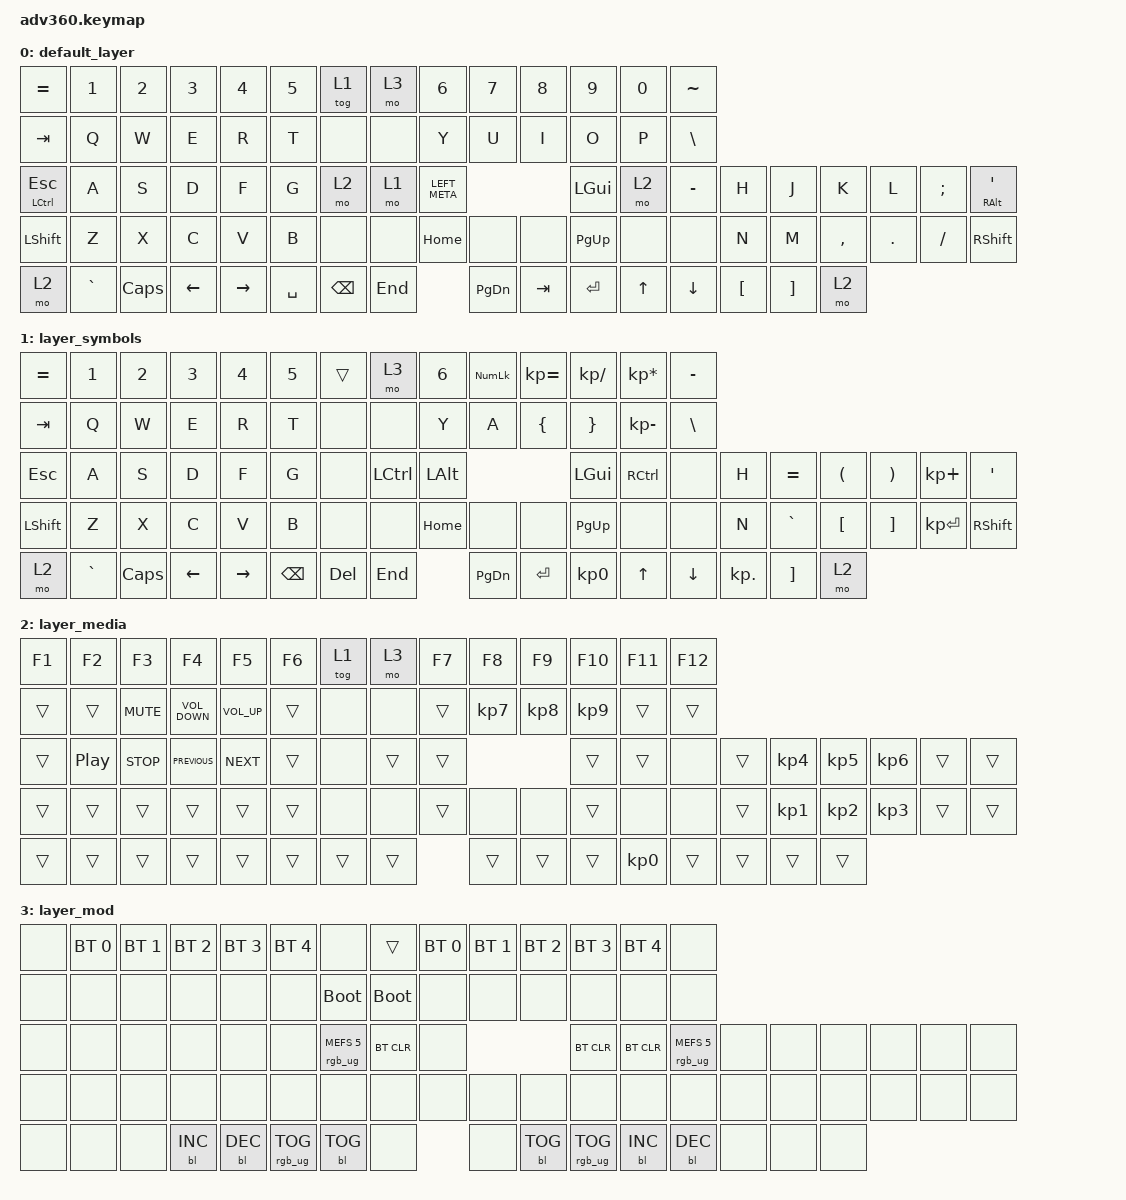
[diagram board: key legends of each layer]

/*
 * Copyright (c) 2020 The ZMK Contributors
 *
 * SPDX-License-Identifier: MIT
 */


/* THIS FILE WAS GENERATED!
 *
 * This file was generated automatically. You may or may not want to
 * edit it directly.
 */

#include <behaviors.dtsi>
#include <dt-bindings/zmk/keys.h>
#include <dt-bindings/zmk/bt.h>
#include <dt-bindings/zmk/rgb.h>
#include <dt-bindings/zmk/backlight.h>

/ {
  behaviors {
    #include "macros.dtsi"

    hm: homerow_mods {
        compatible = "zmk,behavior-hold-tap";
        label = "HOMEROW_MODS";
        #binding-cells = <2>;
        tapping-term-ms = <200>;
        quick_tap_ms = <175>;
        flavor = "tap-preferred";
        bindings = <&kp>, <&kp>;
    };
  };

    keymap {
        compatible = "zmk,keymap";


        default_layer {
            bindings = <
            &kp EQUAL     &kp N1    &kp N2    &kp N3     &kp N4     &kp N5                   &tog 1    &mo 3         &kp N6   &kp N7     &kp N8     &kp N9    &kp N0  &kp TILDE
              &kp TAB      &kp Q     &kp W     &kp E      &kp R      &kp T                    &none    &none          &kp Y    &kp U      &kp I      &kp O     &kp P   &kp BSLH
 &mt LEFT_CONTROL ESC      &kp A     &kp S     &kp D      &kp F      &kp G                    &mo 2    &mo 1  &kp LEFT_META                       &kp LGUI     &mo 2  &kp MINUS     &kp H   &kp J      &kp K    &kp L  &kp SEMI  &mt RIGHT_ALT APOSTROPHE
            &kp LSHFT      &kp Z     &kp X     &kp C      &kp V      &kp B                    &none    &none       &kp HOME    &none      &none  &kp PG_UP     &none      &none     &kp N   &kp M  &kp COMMA  &kp DOT  &kp FSLH                 &kp RSHFT
                &mo 2  &kp GRAVE  &kp CAPS  &kp LEFT  &kp RIGHT  &kp SPACE            &kp BACKSPACE  &kp END      &kp PG_DN  &kp TAB  &kp ENTER     &kp UP  &kp DOWN   &kp LBKT  &kp RBKT   &mo 2
            >;
        };

        layer_symbols {
            bindings = <
 &kp EQUAL     &kp N1    &kp N2    &kp N3     &kp N4    &kp N5             &trans      &mo 3     &kp N6  &kp KP_NUM    &kp KP_EQUAL    &kp KP_DIVIDE  &kp KP_MULTIPLY   &kp MINUS
   &kp TAB      &kp Q     &kp W     &kp E      &kp R     &kp T              &none      &none      &kp Y       &kp A  &kp LEFT_BRACE  &kp RIGHT_BRACE     &kp KP_MINUS    &kp BSLH
   &kp ESC      &kp A     &kp S     &kp D      &kp F     &kp G              &none  &kp LCTRL   &kp LALT                                     &kp LGUI        &kp RCTRL       &none     &kp H  &kp EQUAL  &kp LEFT_PARENTHESIS  &kp RIGHT_PARENTHESIS   &kp KP_PLUS    &kp SQT
 &kp LSHFT      &kp Z     &kp X     &kp C      &kp V     &kp B              &none      &none   &kp HOME       &none           &none        &kp PG_UP            &none       &none     &kp N  &kp GRAVE      &kp LEFT_BRACKET      &kp RIGHT_BRACKET  &kp KP_ENTER  &kp RSHFT
     &mo 2  &kp GRAVE  &kp CAPS  &kp LEFT  &kp RIGHT  &kp BSPC            &kp DEL    &kp END  &kp PG_DN   &kp ENTER       &kp KP_N0           &kp UP         &kp DOWN  &kp KP_DOT  &kp RBKT      &mo 2
            >;
        };

        layer_media {
            bindings = <
 &kp F1            &kp F2      &kp F3             &kp F4           &kp F5  &kp F6            &tog 1   &mo 3  &kp F7           &kp F8           &kp F9          &kp F10  &kp F11  &kp F12
 &trans            &trans  &kp C_MUTE  &kp C_VOLUME_DOWN  &kp C_VOLUME_UP  &trans             &none   &none  &trans  &kp KP_NUMBER_7  &kp KP_NUMBER_8  &kp KP_NUMBER_9   &trans   &trans
 &trans  &kp C_PLAY_PAUSE  &kp C_STOP     &kp C_PREVIOUS       &kp C_NEXT  &trans             &none  &trans  &trans                                             &trans   &trans    &none  &trans  &kp KP_NUMBER_4  &kp KP_NUMBER_5  &kp KP_NUMBER_6  &trans  &trans
 &trans            &trans      &trans             &trans           &trans  &trans             &none   &none  &trans            &none            &none           &trans    &none    &none  &trans  &kp KP_NUMBER_1  &kp KP_NUMBER_2  &kp KP_NUMBER_3  &trans  &trans
 &trans            &trans      &trans             &trans           &trans  &trans            &trans  &trans  &trans           &trans           &trans  &kp KP_NUMBER_0   &trans   &trans  &trans           &trans
            >;
        };

        layer_mod {
            bindings = <
  &none  &bt BT_SEL 0  &bt BT_SEL 1  &bt BT_SEL 2  &bt BT_SEL 3     &bt BT_SEL 4                             &none       &trans  &bt BT_SEL 0  &bt BT_SEL 1     &bt BT_SEL 2  &bt BT_SEL 3  &bt BT_SEL 4                   &none
  &none         &none         &none         &none         &none            &none                       &bootloader  &bootloader         &none         &none            &none         &none         &none                   &none
  &none         &none         &none         &none         &none            &none            &rgb_ug RGB_MEFS_CMD 5   &bt BT_CLR         &none                                   &bt BT_CLR    &bt BT_CLR  &rgb_ug RGB_MEFS_CMD 5   &none   &none   &none   &none   &none   &none
  &none         &none         &none         &none         &none            &none                             &none        &none         &none         &none            &none         &none         &none                   &none   &none   &none   &none   &none   &none   &none
  &none         &none         &none    &bl BL_INC    &bl BL_DEC  &rgb_ug RGB_TOG                        &bl BL_TOG        &none         &none    &bl BL_TOG  &rgb_ug RGB_TOG    &bl BL_INC    &bl BL_DEC                   &none   &none   &none
            >;
        };

    };
};
